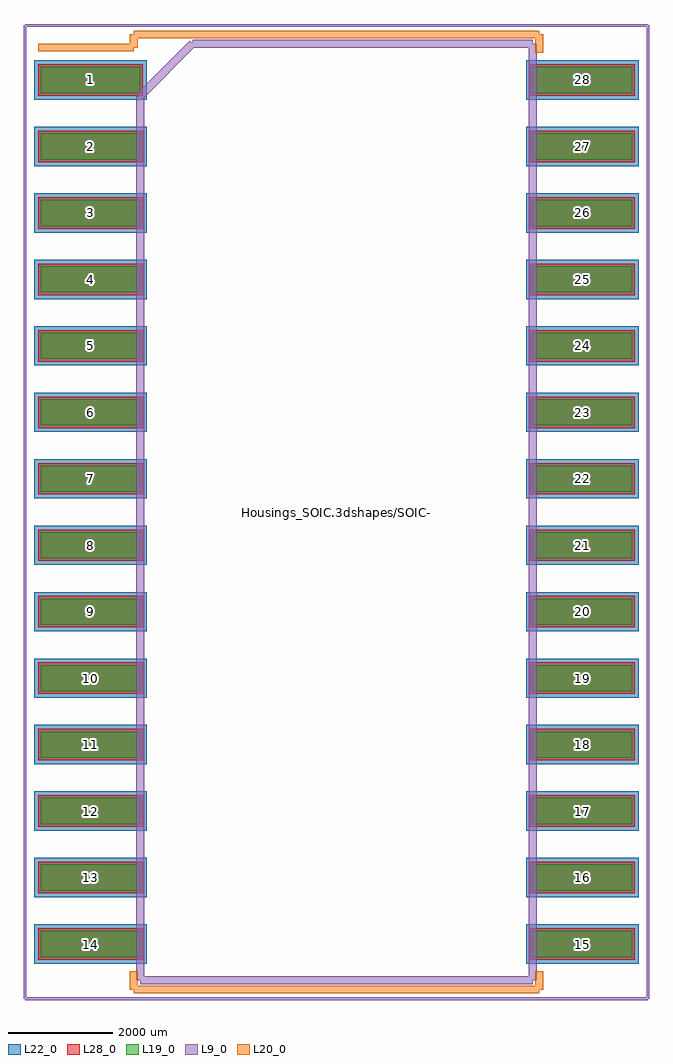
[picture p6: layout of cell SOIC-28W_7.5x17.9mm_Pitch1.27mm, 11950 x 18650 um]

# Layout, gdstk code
import gdstk
lib = gdstk.Library(unit=1e-6, precision=1e-09)
def R(c, l, rs):  # rectangles x0, y0, x1, y1
    for r in rs: c.add(gdstk.rectangle(r[:2], r[2:], *l))
def A(c, l, x, y, w, h, nx, ny, dx, dy):  # array of equal rectangles
    R(c, l, [(x+i*dx, y+j*dy, x+i*dx+w, y+j*dy+h) for i in range(nx) for j in range(ny)])
L9_0 = (9, 0)
L19_0 = (19, 0)
L20_0 = (20, 0)
L22_0 = (22, 0)
L28_0 = (28, 0)

soic_28w_7_5x17_9mm_pitc = lib.new_cell('SOIC-28W_7.5x17.9mm_Pitch1.27mm')
A(soic_28w_7_5x17_9mm_pitc, L19_0, -5650, -8505, 1900, 500, 1, 14, 0, 1270)
A(soic_28w_7_5x17_9mm_pitc, L19_0, 3750, -8505, 1900, 500, 1, 14, 0, 1270)
A(soic_28w_7_5x17_9mm_pitc, L22_0, -5775, -8630, 2150, 750, 1, 14, 0, 1270)
A(soic_28w_7_5x17_9mm_pitc, L22_0, 3625, -8630, 2150, 750, 1, 14, 0, 1270)
A(soic_28w_7_5x17_9mm_pitc, L28_0, -5700, -8555, 2000, 600, 1, 14, 0, 1270)
A(soic_28w_7_5x17_9mm_pitc, L28_0, 3700, -8555, 2000, 600, 1, 14, 0, 1270)
soic_28w_7_5x17_9mm_pitc.add(gdstk.FlexPath([(-3875,8875),(-5700,8875)], 149.998, ends="flush", simple_path=True, layer=20, datatype=0))  # L20_0
soic_28w_7_5x17_9mm_pitc.add(gdstk.FlexPath([(-3875,-9125),(3875,-9125)], 149.998, ends="flush", simple_path=True, layer=20, datatype=0))  # L20_0
soic_28w_7_5x17_9mm_pitc.add(gdstk.FlexPath([(-3875,9125),(3875,9125)], 149.998, ends="flush", simple_path=True, layer=20, datatype=0))  # L20_0
soic_28w_7_5x17_9mm_pitc.add(gdstk.FlexPath([(-3875,-9125),(-3875,-8780)], 149.998, ends="flush", simple_path=True, layer=20, datatype=0))  # L20_0
soic_28w_7_5x17_9mm_pitc.add(gdstk.FlexPath([(3875,-9125),(3875,-8780)], 149.998, ends="flush", simple_path=True, layer=20, datatype=0))  # L20_0
soic_28w_7_5x17_9mm_pitc.add(gdstk.FlexPath([(3875,9125),(3875,8780)], 149.998, ends="flush", simple_path=True, layer=20, datatype=0))  # L20_0
soic_28w_7_5x17_9mm_pitc.add(gdstk.FlexPath([(-3875,9125),(-3875,8875)], 149.998, ends="flush", simple_path=True, layer=20, datatype=0))  # L20_0
soic_28w_7_5x17_9mm_pitc.add(gdstk.FlexPath([(-5950,-9300),(5950,-9300)], 50, ends="flush", simple_path=True, layer=9, datatype=0))  # L9_0
soic_28w_7_5x17_9mm_pitc.add(gdstk.FlexPath([(-5950,9300),(5950,9300)], 50, ends="flush", simple_path=True, layer=9, datatype=0))  # L9_0
soic_28w_7_5x17_9mm_pitc.add(gdstk.FlexPath([(5950,9300),(5950,-9300)], 50, ends="flush", simple_path=True, layer=9, datatype=0))  # L9_0
soic_28w_7_5x17_9mm_pitc.add(gdstk.FlexPath([(-5950,9300),(-5950,-9300)], 50, ends="flush", simple_path=True, layer=9, datatype=0))  # L9_0
soic_28w_7_5x17_9mm_pitc.add(gdstk.FlexPath([(-3750,7950),(-2750,8950)], 149.998, ends="flush", simple_path=True, layer=9, datatype=0))  # L9_0
soic_28w_7_5x17_9mm_pitc.add(gdstk.FlexPath([(-3750,-8950),(-3750,7950)], 149.998, ends="flush", simple_path=True, layer=9, datatype=0))  # L9_0
soic_28w_7_5x17_9mm_pitc.add(gdstk.FlexPath([(3750,-8950),(-3750,-8950)], 149.998, ends="flush", simple_path=True, layer=9, datatype=0))  # L9_0
soic_28w_7_5x17_9mm_pitc.add(gdstk.FlexPath([(3750,8950),(3750,-8950)], 149.998, ends="flush", simple_path=True, layer=9, datatype=0))  # L9_0
soic_28w_7_5x17_9mm_pitc.add(gdstk.FlexPath([(-2750,8950),(3750,8950)], 149.998, ends="flush", simple_path=True, layer=9, datatype=0))  # L9_0
soic_28w_7_5x17_9mm_pitc.add(gdstk.Label('Housings_SOIC.3dshapes/SOIC-28_7.5x17.9mm_Pitch1.27mm.wrl', (0,0), layer=12, texttype=0))
soic_28w_7_5x17_9mm_pitc.add(gdstk.Label('28', (4700,8255), layer=28, texttype=0))
soic_28w_7_5x17_9mm_pitc.add(gdstk.Label('27', (4700,6985), layer=28, texttype=0))
soic_28w_7_5x17_9mm_pitc.add(gdstk.Label('26', (4700,5715), layer=28, texttype=0))
soic_28w_7_5x17_9mm_pitc.add(gdstk.Label('25', (4700,4445), layer=28, texttype=0))
soic_28w_7_5x17_9mm_pitc.add(gdstk.Label('24', (4700,3175), layer=28, texttype=0))
soic_28w_7_5x17_9mm_pitc.add(gdstk.Label('23', (4700,1905), layer=28, texttype=0))
soic_28w_7_5x17_9mm_pitc.add(gdstk.Label('22', (4700,635), layer=28, texttype=0))
soic_28w_7_5x17_9mm_pitc.add(gdstk.Label('21', (4700,-635), layer=28, texttype=0))
soic_28w_7_5x17_9mm_pitc.add(gdstk.Label('20', (4700,-1905), layer=28, texttype=0))
soic_28w_7_5x17_9mm_pitc.add(gdstk.Label('19', (4700,-3175), layer=28, texttype=0))
soic_28w_7_5x17_9mm_pitc.add(gdstk.Label('18', (4700,-4445), layer=28, texttype=0))
soic_28w_7_5x17_9mm_pitc.add(gdstk.Label('17', (4700,-5715), layer=28, texttype=0))
soic_28w_7_5x17_9mm_pitc.add(gdstk.Label('16', (4700,-6985), layer=28, texttype=0))
soic_28w_7_5x17_9mm_pitc.add(gdstk.Label('15', (4700,-8255), layer=28, texttype=0))
soic_28w_7_5x17_9mm_pitc.add(gdstk.Label('14', (-4700,-8255), layer=28, texttype=0))
soic_28w_7_5x17_9mm_pitc.add(gdstk.Label('13', (-4700,-6985), layer=28, texttype=0))
soic_28w_7_5x17_9mm_pitc.add(gdstk.Label('12', (-4700,-5715), layer=28, texttype=0))
soic_28w_7_5x17_9mm_pitc.add(gdstk.Label('11', (-4700,-4445), layer=28, texttype=0))
soic_28w_7_5x17_9mm_pitc.add(gdstk.Label('10', (-4700,-3175), layer=28, texttype=0))
soic_28w_7_5x17_9mm_pitc.add(gdstk.Label('9', (-4700,-1905), layer=28, texttype=0))
soic_28w_7_5x17_9mm_pitc.add(gdstk.Label('8', (-4700,-635), layer=28, texttype=0))
soic_28w_7_5x17_9mm_pitc.add(gdstk.Label('7', (-4700,635), layer=28, texttype=0))
soic_28w_7_5x17_9mm_pitc.add(gdstk.Label('6', (-4700,1905), layer=28, texttype=0))
soic_28w_7_5x17_9mm_pitc.add(gdstk.Label('5', (-4700,3175), layer=28, texttype=0))
soic_28w_7_5x17_9mm_pitc.add(gdstk.Label('4', (-4700,4445), layer=28, texttype=0))
soic_28w_7_5x17_9mm_pitc.add(gdstk.Label('3', (-4700,5715), layer=28, texttype=0))
soic_28w_7_5x17_9mm_pitc.add(gdstk.Label('2', (-4700,6985), layer=28, texttype=0))
soic_28w_7_5x17_9mm_pitc.add(gdstk.Label('1', (-4700,8255), layer=28, texttype=0))
soic_28w_7_5x17_9mm_pitc.add(gdstk.Label('type', (0,-10050), layer=9, texttype=0))
soic_28w_7_5x17_9mm_pitc.add(gdstk.Label('devicename', (0,10050), layer=9, texttype=0))

lib.write_gds('SOIC-28W_7.5x17.9mm_Pitch1.27mm.gds')
